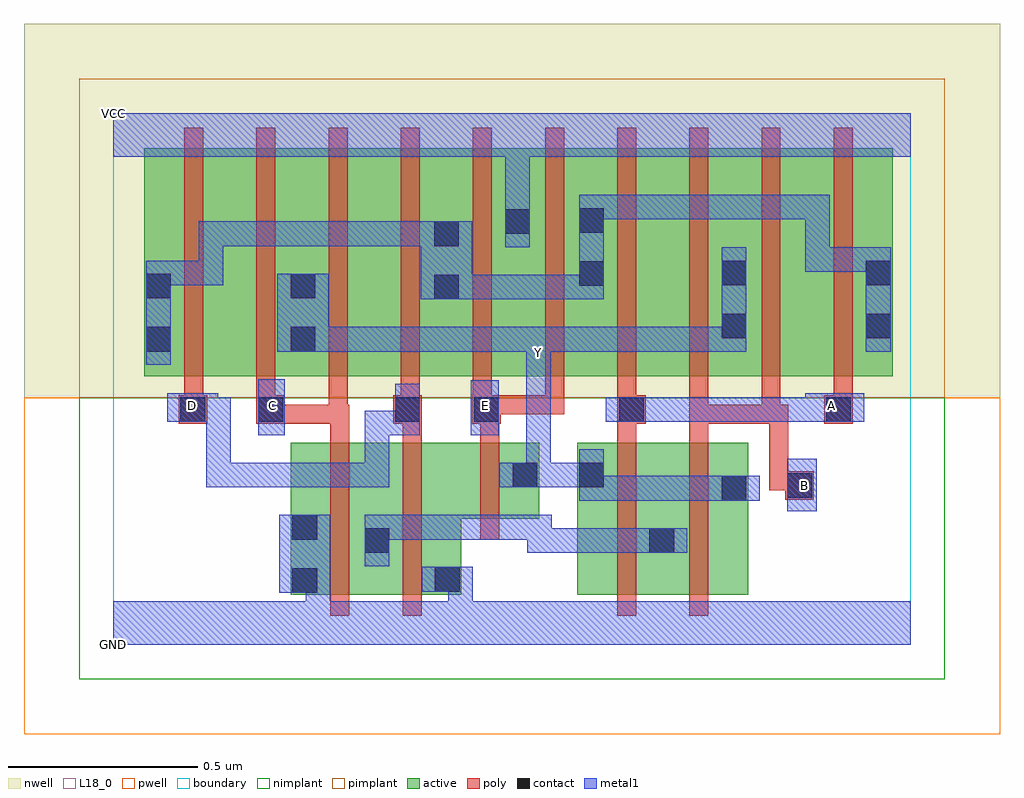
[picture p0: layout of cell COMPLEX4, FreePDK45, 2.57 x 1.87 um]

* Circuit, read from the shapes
.subckt COMPLEX4 A B C D E GND VCC Y
M1 n1 C GND VSUBS nfet w=0.4u l=0.05u
M2 GND D n1 VSUBS nfet w=0.4u l=0.05u
M3 Y E GND VSUBS nfet w=0.2u l=0.05u
M4 n1 A Y VSUBS nfet w=0.4u l=0.05u
M5 Y B n1 VSUBS nfet w=0.4u l=0.05u
M6 n2 D n3 n4 pfet w=0.6u l=0.05u
M7 Y C n2 n4 pfet w=0.6u l=0.05u
M8 n5 C Y n4 pfet w=0.6u l=0.05u
M9 n3 D n5 n4 pfet w=0.6u l=0.05u
M10 VCC E n3 n4 pfet w=0.6u l=0.05u m=2
M11 n6 A n3 n4 pfet w=0.6u l=0.05u
M12 Y B n6 n4 pfet w=0.6u l=0.05u
M13 n7 B Y n4 pfet w=0.6u l=0.05u
M14 n3 A n7 n4 pfet w=0.6u l=0.05u
.ends

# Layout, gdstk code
import gdstk
lib = gdstk.Library(unit=1e-6, precision=1e-09)
def R(c, l, rs):  # rectangles x0, y0, x1, y1
    for r in rs: c.add(gdstk.rectangle(r[:2], r[2:], *l))
def A(c, l, x, y, w, h, nx, ny, dx, dy):  # array of equal rectangles
    R(c, l, [(x+i*dx, y+j*dy, x+i*dx+w, y+j*dy+h) for i in range(nx) for j in range(ny)])
active = (1, 0)
pwell = (2, 0)
nwell = (3, 0)
nimplant = (4, 0)
pimplant = (5, 0)
poly = (9, 0)
contact = (10, 0)
metal1 = (11, 0)
L18_0 = (18, 0)
boundary = (235, 0)

complex4 = lib.new_cell('COMPLEX4')
R(complex4, active, [(0.467,0.132,0.732,0.532), (0.467,0.132,0.542,0.532), (0.657,0.132,0.917,0.532), (0.842,0.132,0.917,0.405), (1.222,0.132,1.482,0.532), (1.407,0.132,1.672,0.532), (0.657,0.195,0.732,0.492), (1.222,0.195,1.297,0.532), (1.407,0.195,1.482,0.492), (1.597,0.195,1.672,0.532), (0.842,0.332,1.122,0.532), (1.047,0.332,1.122,0.532), (0.082,0.707,0.307,1.307), (0.082,0.707,0.187,1.2), (0.307,0.707,0.537,1.307), (0.462,0.707,0.687,1.307), (0.462,0.707,0.537,1.07), (0.687,0.707,0.915,1.307), (0.84,0.707,0.915,1.2), (0.84,0.707,1.102,1.307), (1.027,0.707,1.297,1.307), (1.027,0.707,1.102,1.307), (1.222,0.707,1.297,1.2), (1.222,0.707,1.447,1.307), (1.447,0.707,1.672,1.307), (1.597,0.707,1.827,1.307), (1.597,0.707,1.672,1.07), (1.827,0.707,2.052,1.307), (1.977,0.707,2.052,1.2)])
R(complex4, pwell, [(-0.235,-0.235,2.335,0.65)])
R(complex4, nwell, [(-0.235,0.65,2.335,1.635)])
R(complex4, nimplant, [(-0.09,-0.09,2.19,0.65)])
R(complex4, pimplant, [(-0.09,0.65,2.19,1.49)])
A(complex4, poly, 0.757, 0.607, 0.05, 0.095, 4, 1, 0.19, 0)
A(complex4, poly, 0.187, 0.652, 0.05, 0.71, 10, 1, 0.19, 0)
R(complex4, poly, [(0.572,0.077,0.622,0.587), (0.762,0.077,0.812,0.587), (1.327,0.077,1.377,0.587), (1.517,0.077,1.567,0.587), (0.967,0.277,1.017,0.587), (1.77,0.382,1.845,0.457), (1.727,0.407,1.777,0.632), (1.727,0.407,1.82,0.457), (1.77,0.407,1.82,0.457), (0.572,0.537,0.622,0.632), (0.762,0.537,0.812,0.632), (0.967,0.537,1.017,0.632), (1.327,0.537,1.377,0.632), (1.517,0.537,1.567,0.632), (0.172,0.582,0.247,0.657), (0.377,0.582,0.452,0.657), (0.402,0.582,0.452,0.632), (0.402,0.582,0.452,0.632), (0.402,0.582,0.617,0.632), (0.567,0.582,0.617,0.702), (0.567,0.582,0.622,0.632), (0.737,0.582,0.812,0.657), (0.945,0.582,1.02,0.657), (1.327,0.582,1.402,0.657), (1.517,0.582,1.567,0.702), (1.517,0.582,1.567,0.632), (1.517,0.582,1.757,0.632), (1.707,0.582,1.757,0.702), (1.707,0.582,1.757,0.632), (1.707,0.582,1.757,0.632), (1.707,0.582,1.777,0.632), (1.872,0.582,1.947,0.657), (0.187,0.607,0.237,0.702), (0.377,0.607,0.427,0.702), (0.97,0.607,1.187,0.657), (1.137,0.607,1.187,0.657), (1.137,0.607,1.187,0.657), (1.137,0.607,1.187,0.657), (1.897,0.607,1.947,0.702)])
R(complex4, contact, [(0.472,0.137,0.537,0.202), (0.847,0.14,0.912,0.205), (0.662,0.242,0.727,0.307), (1.412,0.242,1.477,0.307), (0.472,0.277,0.537,0.342), (1.602,0.38,1.667,0.445), (1.775,0.387,1.84,0.452), (1.052,0.415,1.117,0.48), (1.227,0.415,1.292,0.48), (0.177,0.587,0.242,0.652), (0.382,0.587,0.447,0.652), (0.742,0.587,0.807,0.652), (0.95,0.587,1.015,0.652), (1.332,0.587,1.397,0.652), (1.877,0.587,1.942,0.652), (0.087,0.772,0.152,0.837), (0.467,0.772,0.532,0.837), (1.602,0.807,1.667,0.872), (1.982,0.807,2.047,0.872), (0.845,0.91,0.91,0.975), (0.087,0.912,0.152,0.977), (0.467,0.912,0.532,0.977), (1.227,0.945,1.292,1.01), (1.602,0.947,1.667,1.012), (1.982,0.947,2.047,1.012), (0.845,1.05,0.91,1.115), (1.032,1.082,1.097,1.147), (1.227,1.085,1.292,1.15)])
R(complex4, metal1, [(0,0,2.1,0.115), (0.507,0.05,0.572,0.202), (0.882,0.05,0.947,0.205), (0.437,0.137,0.572,0.342), (0.812,0.14,0.947,0.205), (0.662,0.207,0.727,0.342), (1.09,0.242,1.305,0.307), (1.09,0.242,1.155,0.342), (1.24,0.242,1.305,0.307), (1.24,0.242,1.305,0.307), (1.24,0.242,1.305,0.307), (1.24,0.242,1.442,0.307), (1.377,0.242,1.512,0.307), (0.662,0.277,0.727,0.342), (0.662,0.277,0.727,0.342), (0.662,0.277,0.945,0.342), (0.88,0.277,0.945,0.342), (0.88,0.277,0.945,0.342), (0.88,0.277,0.945,0.342), (0.88,0.277,1.155,0.342), (1.09,0.277,1.155,0.342), (1.09,0.277,1.155,0.342), (1.775,0.352,1.852,0.49), (1.227,0.38,1.292,0.445), (1.227,0.38,1.292,0.445), (1.227,0.38,1.442,0.445), (1.227,0.38,1.292,0.515), (1.377,0.38,1.442,0.445), (1.377,0.38,1.612,0.445), (1.547,0.38,1.612,0.445), (1.547,0.38,1.632,0.445), (1.567,0.38,1.702,0.445), (0.245,0.415,0.31,0.48), (0.245,0.415,0.452,0.48), (0.245,0.415,0.31,0.652), (0.387,0.415,0.452,0.48), (0.387,0.415,0.452,0.48), (0.387,0.415,0.452,0.48), (0.387,0.415,0.59,0.48), (0.525,0.415,0.59,0.48), (0.525,0.415,0.727,0.48), (0.662,0.415,0.727,0.48), (0.662,0.415,0.727,0.617), (1.017,0.415,1.152,0.48), (1.087,0.415,1.152,0.48), (1.087,0.415,1.152,0.48), (1.087,0.415,1.292,0.48), (1.087,0.415,1.152,0.767), (0.382,0.552,0.452,0.7), (0.662,0.552,0.727,0.617), (0.662,0.552,0.807,0.617), (0.742,0.552,0.807,0.687), (0.942,0.552,1.015,0.697), (0.142,0.587,0.277,0.662), (0.212,0.587,0.31,0.652), (0.245,0.587,0.31,0.652), (1.297,0.587,1.432,0.652), (1.367,0.587,1.442,0.652), (1.377,0.587,1.442,0.652), (1.377,0.587,1.612,0.652), (1.547,0.587,1.612,0.652), (1.547,0.587,1.75,0.652), (1.685,0.587,1.75,0.652), (1.685,0.587,1.75,0.652), (1.685,0.587,1.75,0.652), (1.685,0.587,1.887,0.652), (1.822,0.587,1.887,0.652), (1.822,0.587,1.887,0.652), (1.822,0.587,1.977,0.662), (1.087,0.702,1.152,0.837), (0.087,0.737,0.152,1.012), (0.432,0.772,0.567,0.977), (0.502,0.772,0.59,0.837), (0.525,0.772,0.59,0.837), (0.525,0.772,0.727,0.837), (0.662,0.772,0.727,0.837), (0.662,0.772,0.727,0.837), (0.662,0.772,0.727,0.837), (0.662,0.772,0.945,0.837), (0.88,0.772,0.945,0.837), (0.88,0.772,0.945,0.837), (0.88,0.772,0.945,0.837), (0.88,0.772,1.152,0.837), (1.087,0.772,1.152,0.837), (1.087,0.772,1.152,0.837), (1.087,0.772,1.152,0.837), (1.087,0.772,1.152,0.837), (1.087,0.772,1.305,0.837), (1.24,0.772,1.305,0.837), (1.24,0.772,1.442,0.837), (1.377,0.772,1.442,0.837), (1.377,0.772,1.442,0.837), (1.377,0.772,1.442,0.837), (1.377,0.772,1.58,0.837), (1.515,0.772,1.58,0.837), (1.515,0.772,1.667,0.837), (1.602,0.772,1.667,1.047), (1.982,0.772,2.047,1.047), (0.81,0.91,0.945,1.115), (0.88,0.91,0.945,0.975), (0.88,0.91,0.945,0.975), (0.88,0.91,1.155,0.975), (1.09,0.91,1.155,0.975), (1.09,0.91,1.155,0.975), (1.09,0.91,1.155,0.975), (1.09,0.91,1.292,0.975), (1.227,0.91,1.292,1.185), (0.087,0.947,0.152,1.012), (0.087,0.947,0.152,1.012), (0.087,0.947,0.29,1.012), (0.225,0.947,0.29,1.012), (0.225,0.947,0.29,1.115), (1.822,0.982,1.887,1.047), (1.822,0.982,2.047,1.047), (1.822,0.982,1.887,1.185), (1.982,0.982,2.047,1.047), (1.982,0.982,2.047,1.047), (1.032,1.047,1.097,1.182), (0.225,1.05,0.29,1.115), (0.225,1.05,0.415,1.115), (0.35,1.05,0.415,1.115), (0.35,1.05,0.59,1.115), (0.525,1.05,0.59,1.115), (0.525,1.05,0.59,1.115), (0.525,1.05,0.59,1.115), (0.525,1.05,0.737,1.115), (0.672,1.05,0.737,1.115), (0.672,1.05,0.807,1.115), (0.742,1.05,0.807,1.115), (0.742,1.05,0.875,1.115), (1.032,1.117,1.097,1.35), (1.227,1.12,1.292,1.185), (1.227,1.12,1.292,1.185), (1.227,1.12,1.442,1.185), (1.377,1.12,1.442,1.185), (1.377,1.12,1.58,1.185), (1.515,1.12,1.58,1.185), (1.515,1.12,1.58,1.185), (1.515,1.12,1.58,1.185), (1.515,1.12,1.75,1.185), (1.685,1.12,1.75,1.185), (1.685,1.12,1.887,1.185), (1.822,1.12,1.887,1.185), (0,1.285,2.1,1.4)])
R(complex4, L18_0, [(0,0,2.1,0.115), (0.507,0.05,0.572,0.202), (0.882,0.05,0.947,0.205), (0.437,0.137,0.572,0.342), (0.812,0.14,0.947,0.205), (1.775,0.352,1.852,0.49), (1.227,0.38,1.292,0.445), (1.227,0.38,1.292,0.445), (1.227,0.38,1.292,0.515), (1.227,0.38,1.442,0.445), (1.377,0.38,1.442,0.445), (1.377,0.38,1.612,0.445), (1.547,0.38,1.612,0.445), (1.547,0.38,1.632,0.445), (1.567,0.38,1.702,0.445), (1.787,0.387,1.852,0.452), (0.245,0.415,0.31,0.48), (0.245,0.415,0.31,0.652), (0.245,0.415,0.452,0.48), (0.387,0.415,0.452,0.48), (0.387,0.415,0.452,0.48), (0.387,0.415,0.452,0.48), (0.387,0.415,0.59,0.48), (0.525,0.415,0.59,0.48), (0.525,0.415,0.727,0.48), (0.662,0.415,0.727,0.48), (0.662,0.415,0.727,0.617), (1.017,0.415,1.152,0.48), (1.087,0.415,1.152,0.48), (1.087,0.415,1.152,0.48), (1.087,0.415,1.152,0.767), (1.087,0.415,1.292,0.48), (0.382,0.552,0.452,0.7), (0.662,0.552,0.727,0.617), (0.662,0.552,0.807,0.617), (0.742,0.552,0.807,0.687), (0.942,0.552,1.015,0.697), (0.142,0.587,0.277,0.662), (0.212,0.587,0.31,0.652), (0.245,0.587,0.31,0.652), (1.297,0.587,1.432,0.652), (1.367,0.587,1.442,0.652), (1.377,0.587,1.442,0.652), (1.377,0.587,1.612,0.652), (1.547,0.587,1.612,0.652), (1.547,0.587,1.75,0.652), (1.685,0.587,1.75,0.652), (1.685,0.587,1.75,0.652), (1.685,0.587,1.75,0.652), (1.685,0.587,1.887,0.652), (1.822,0.587,1.887,0.652), (1.822,0.587,1.887,0.652), (1.822,0.587,1.977,0.662), (0.177,0.597,0.242,0.662), (0.387,0.597,0.452,0.662), (0.947,0.597,1.012,0.662), (1.857,0.597,1.922,0.662), (1.087,0.702,1.152,0.837), (1.087,0.737,1.152,0.802), (0.432,0.772,0.567,0.977), (0.502,0.772,0.59,0.837), (0.525,0.772,0.59,0.837), (0.525,0.772,0.727,0.837), (0.662,0.772,0.727,0.837), (0.662,0.772,0.727,0.837), (0.662,0.772,0.727,0.837), (0.662,0.772,0.945,0.837), (0.88,0.772,0.945,0.837), (0.88,0.772,0.945,0.837), (0.88,0.772,0.945,0.837), (0.88,0.772,1.152,0.837), (1.087,0.772,1.152,0.837), (1.087,0.772,1.152,0.837), (1.087,0.772,1.152,0.837), (1.087,0.772,1.152,0.837), (1.087,0.772,1.305,0.837), (1.24,0.772,1.305,0.837), (1.24,0.772,1.442,0.837), (1.377,0.772,1.442,0.837), (1.377,0.772,1.442,0.837), (1.377,0.772,1.442,0.837), (1.377,0.772,1.58,0.837), (1.515,0.772,1.58,0.837), (1.515,0.772,1.667,0.837), (1.602,0.772,1.667,1.047), (1.032,1.047,1.097,1.182), (1.032,1.117,1.097,1.35), (0,1.285,2.1,1.4)])
R(complex4, boundary, [(0,0,2.1,1.4)])
complex4.add(gdstk.Label('A', (1.89,0.63), layer=11, texttype=0))
complex4.add(gdstk.Label('B', (1.82,0.42), layer=11, texttype=0))
complex4.add(gdstk.Label('C', (0.42,0.63), layer=11, texttype=0))
complex4.add(gdstk.Label('D', (0.21,0.63), layer=11, texttype=0))
complex4.add(gdstk.Label('E', (0.98,0.63), layer=11, texttype=0))
complex4.add(gdstk.Label('Y', (1.12,0.77), layer=11, texttype=0))
complex4.add(gdstk.Label('VCC', (0,1.4), layer=11, texttype=0))
complex4.add(gdstk.Label('GND', (0,0), layer=11, texttype=0))

lib.write_gds('COMPLEX4.gds')
